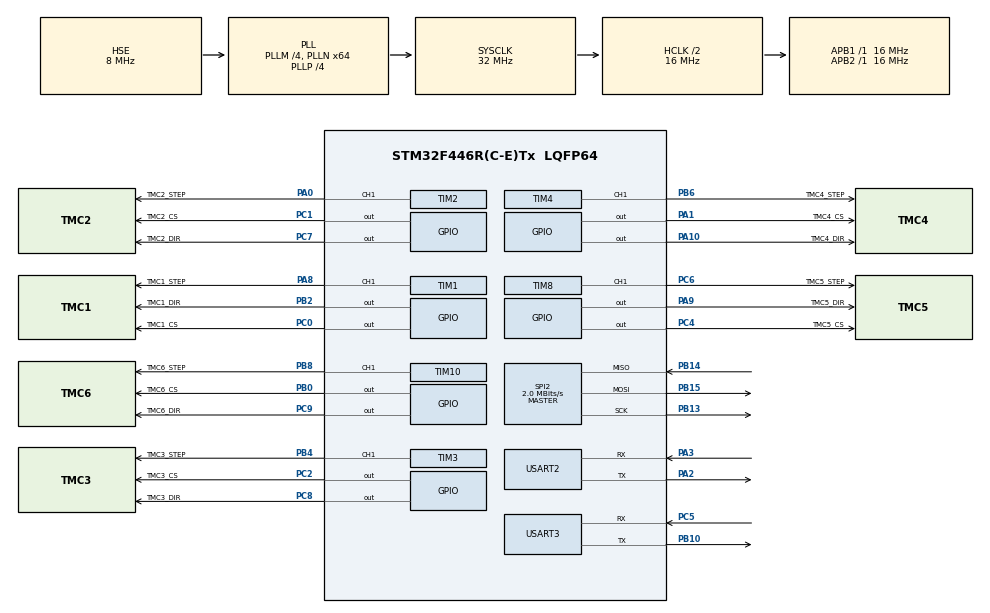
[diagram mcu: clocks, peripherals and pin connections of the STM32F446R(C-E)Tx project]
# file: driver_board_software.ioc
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Mcu.Family=STM32F4
Mcu.Name=STM32F446R(C-E)Tx
Mcu.Package=LQFP64
NVIC.PriorityGroup=NVIC_PRIORITYGROUP_4
NVIC.TIM1_UP_TIM10_IRQn=true\:0\:0\:false\:false\:true\:true\:true\:true
NVIC.TIM5_IRQn=true\:0\:0\:false\:false\:true\:true\:true\:true
NVIC.USART2_IRQn=true\:0\:0\:false\:false\:true\:true\:true\:true
NVIC.USART3_IRQn=true\:0\:0\:false\:false\:true\:true\:true\:true
PA0-WKUP.GPIO_Label=TMC2_STEP
PA0-WKUP.Signal=S_TIM2_CH1_ETR
PA1.GPIO_Label=TMC4_CS
PA1.PinState=GPIO_PIN_SET
PA1.Signal=GPIO_Output
PA10.GPIO_Label=TMC4_DIR
PA10.GPIO_Speed=GPIO_SPEED_FREQ_MEDIUM
PA10.PinState=GPIO_PIN_SET
PA10.Signal=GPIO_Output
PA2.Mode=Asynchronous
PA2.Signal=USART2_TX
PA3.Mode=Asynchronous
PA3.Signal=USART2_RX
PA8.GPIO_Label=TMC1_STEP
PA8.Signal=S_TIM1_CH1
PA9.GPIO_Label=TMC5_DIR
PA9.GPIO_Speed=GPIO_SPEED_FREQ_MEDIUM
PA9.PinState=GPIO_PIN_SET
PA9.Signal=GPIO_Output
PB0.GPIO_Label=TMC6_CS
PB0.GPIO_Speed=GPIO_SPEED_FREQ_MEDIUM
PB0.PinState=GPIO_PIN_SET
PB0.Signal=GPIO_Output
PB10.Mode=Asynchronous
PB10.Signal=USART3_TX
PB13.Mode=Full_Duplex_Master
PB13.Signal=SPI2_SCK
PB14.Mode=Full_Duplex_Master
PB14.Signal=SPI2_MISO
PB15.Mode=Full_Duplex_Master
PB15.Signal=SPI2_MOSI
PB2.GPIO_Label=TMC1_DIR
PB2.GPIO_Speed=GPIO_SPEED_FREQ_MEDIUM
PB2.PinState=GPIO_PIN_SET
PB2.Signal=GPIO_Output
PB4.GPIO_Label=TMC3_STEP
PB4.Signal=S_TIM3_CH1
PB6.GPIO_Label=TMC4_STEP
PB6.Signal=S_TIM4_CH1
PB8.GPIO_Label=TMC6_STEP
PB8.Signal=S_TIM10_CH1
PC0.GPIO_Label=TMC1_CS
PC0.PinState=GPIO_PIN_SET
PC0.Signal=GPIO_Output
PC1.GPIO_Label=TMC2_CS
PC1.GPIO_Speed=GPIO_SPEED_FREQ_LOW
PC1.PinState=GPIO_PIN_SET
PC1.Signal=GPIO_Output
PC2.GPIO_Label=TMC3_CS
PC2.PinState=GPIO_PIN_SET
PC2.Signal=GPIO_Output
PC4.GPIO_Label=TMC5_CS
PC4.GPIO_Speed=GPIO_SPEED_FREQ_MEDIUM
PC4.PinState=GPIO_PIN_SET
PC4.Signal=GPIO_Output
PC5.Mode=Asynchronous
PC5.Signal=USART3_RX
PC6.GPIO_Label=TMC5_STEP
PC6.Signal=S_TIM8_CH1
PC7.GPIO_Label=TMC2_DIR
PC7.PinState=GPIO_PIN_SET
PC7.Signal=GPIO_Output
PC8.GPIO_Label=TMC3_DIR
PC8.PinState=GPIO_PIN_SET
PC8.Signal=GPIO_Output
PC9.GPIO_Label=TMC6_DIR
PC9.PinState=GPIO_PIN_SET
PC9.Signal=GPIO_Output
PH0-OSC_IN.Mode=HSE-External-Clock-Source
PH0-OSC_IN.Signal=RCC_OSC_IN
PH1-OSC_OUT.Mode=HSE-External-Clock-Source
PH1-OSC_OUT.Signal=RCC_OSC_OUT
ProjectManager.HeapSize=0x200
ProjectManager.StackSize=0x400
ProjectManager.TargetToolchain=CMake
RCC.AHBCLKDivider=RCC_SYSCLK_DIV2
RCC.AHBFreq_Value=16000000
RCC.APB1Freq_Value=16000000
RCC.APB1TimFreq_Value=16000000
RCC.APB2Freq_Value=16000000
RCC.APB2TimFreq_Value=16000000
RCC.CortexFreq_Value=16000000
RCC.HCLKFreq_Value=16000000
RCC.HSE_VALUE=8000000
RCC.PLLM=4
RCC.PLLN=64
RCC.PLLP=RCC_PLLP_DIV4
RCC.PLLSourceVirtual=RCC_PLLSOURCE_HSE
RCC.SYSCLKFreq_VALUE=32000000
RCC.SYSCLKSource=RCC_SYSCLKSOURCE_PLLCLK
RCC.USBFreq_Value=64000000
RCC.VCOOutputFreq_Value=128000000
SH.S_TIM10_CH1.0=TIM10_CH1,PWM Generation1 CH1
SH.S_TIM1_CH1.0=TIM1_CH1,PWM Generation1 CH1
SH.S_TIM2_CH1_ETR.0=TIM2_CH1,PWM Generation1 CH1
SH.S_TIM3_CH1.0=TIM3_CH1,PWM Generation1 CH1
SH.S_TIM4_CH1.0=TIM4_CH1,PWM Generation1 CH1
SH.S_TIM8_CH1.0=TIM8_CH1,PWM Generation1 CH1
SPI2.BaudRatePrescaler=SPI_BAUDRATEPRESCALER_8
SPI2.CLKPhase=SPI_PHASE_2EDGE
SPI2.CLKPolarity=SPI_POLARITY_HIGH
SPI2.CalculateBaudRate=2.0 MBits/s
SPI2.Direction=SPI_DIRECTION_2LINES
SPI2.Mode=SPI_MODE_MASTER
SPI2.VirtualType=VM_MASTER
TIM1.AutoReloadPreload=TIM_AUTORELOAD_PRELOAD_ENABLE
TIM1.AutomaticOutput=TIM_AUTOMATICOUTPUT_ENABLE
TIM1.Channel-PWM\ Generation1\ CH1=TIM_CHANNEL_1
TIM1.OCMode_PWM-PWM\ Generation1\ CH1=TIM_OCMODE_PWM2
TIM1.Period=999
TIM1.Prescaler=15
TIM1.Pulse-PWM\ Generation1\ CH1=65535
TIM10.AutoReloadPreload=TIM_AUTORELOAD_PRELOAD_ENABLE
TIM10.Channel=TIM_CHANNEL_1
TIM10.OCMode_PWM=TIM_OCMODE_PWM2
TIM10.Period=999
TIM10.Prescaler=15
TIM10.Pulse=65535
TIM2.AutoReloadPreload=TIM_AUTORELOAD_PRELOAD_ENABLE
TIM2.Channel-PWM\ Generation1\ CH1=TIM_CHANNEL_1
TIM2.OCMode_PWM-PWM\ Generation1\ CH1=TIM_OCMODE_PWM2
TIM2.Period=999
TIM2.Prescaler=15
TIM2.Pulse-PWM\ Generation1\ CH1=65535
TIM3.AutoReloadPreload=TIM_AUTORELOAD_PRELOAD_ENABLE
TIM3.Channel-PWM\ Generation1\ CH1=TIM_CHANNEL_1
TIM3.OCMode_PWM-PWM\ Generation1\ CH1=TIM_OCMODE_PWM2
TIM3.Period=999
TIM3.Prescaler=15
TIM3.Pulse-PWM\ Generation1\ CH1=65535
TIM4.AutoReloadPreload=TIM_AUTORELOAD_PRELOAD_ENABLE
TIM4.Channel-PWM\ Generation1\ CH1=TIM_CHANNEL_1
TIM4.OCMode_PWM-PWM\ Generation1\ CH1=TIM_OCMODE_PWM2
TIM4.Period=999
TIM4.Prescaler=15
TIM4.Pulse-PWM\ Generation1\ CH1=65535
TIM5.Period=999
TIM5.Prescaler=15
TIM8.AutoReloadPreload=TIM_AUTORELOAD_PRELOAD_ENABLE
TIM8.Channel-PWM\ Generation1\ CH1=TIM_CHANNEL_1
TIM8.OCMode_PWM-PWM\ Generation1\ CH1=TIM_OCMODE_PWM2
TIM8.Period=999
TIM8.Prescaler=15
TIM8.Pulse-PWM\ Generation1\ CH1=65535
USART2.VirtualMode=VM_ASYNC
USART3.VirtualMode=VM_ASYNC
VP_TIM10_VS_ClockSourceINT.Mode=Enable_Timer
VP_TIM1_VS_ClockSourceINT.Mode=Internal
VP_TIM2_VS_ClockSourceINT.Mode=Internal
VP_TIM3_VS_ClockSourceINT.Mode=Internal
VP_TIM4_VS_ClockSourceINT.Mode=Internal
VP_TIM5_VS_ClockSourceINT.Mode=Internal
VP_TIM8_VS_ClockSourceINT.Mode=Internal
board=custom

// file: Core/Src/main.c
/* USER CODE BEGIN Header */
/**
  ******************************************************************************
  * @file           : main.c
  * @brief          : Main program body
  ******************************************************************************
  * @attention
  *
  * Copyright (c) 2026 STMicroelectronics.
  * All rights reserved.
  *
  * This software is licensed under terms that can be found in the LICENSE file
  * in the root directory of this software component.
  * If no LICENSE file comes with this software, it is provided AS-IS.
  *
  ******************************************************************************
  */
/*
 * SPDX-License-Identifier: GPL-3.0-or-later
 * Copyright (c) 2026 Emanuel Käfer, Matteo Gassler, and Alexander Dick and contributors
 * This program is free software: you can redistribute it and/or modify
 * it under the terms of the GNU General Public License as published by
 * the Free Software Foundation, either version 3 of the License, or
 * (at your option) any later version.
 * This program is distributed WITHOUT ANY EXPRESS OR IMPLIED WARRANTY.
 * See LICENSE-SOFTWARE in the project root for details.
 */

/* USER CODE END Header */
#include "main.h"

SPI_HandleTypeDef hspi2;

TIM_HandleTypeDef htim1;
TIM_HandleTypeDef htim2;
TIM_HandleTypeDef htim3;
TIM_HandleTypeDef htim4;
TIM_HandleTypeDef htim5;
TIM_HandleTypeDef htim8;
TIM_HandleTypeDef htim10;

UART_HandleTypeDef huart2;
UART_HandleTypeDef huart3;

/* USER CODE BEGIN PV */

//target steps array
float target_steps[] ={0.0f, 0.0f, 0.0f,0.0f,0.0f,0.0f};
/* USER CODE END PV */

void SystemClock_Config(void);
static void MX_GPIO_Init(void);
static void MX_USART2_UART_Init(void);
static void MX_TIM1_Init(void);
static void MX_USART3_UART_Init(void);
static void MX_TIM2_Init(void);
static void MX_TIM3_Init(void);
static void MX_TIM4_Init(void);
static void MX_TIM5_Init(void);
static void MX_TIM8_Init(void);
static void MX_TIM10_Init(void);
static void MX_SPI2_Init(void);

/* USER CODE BEGIN 0 */

// Status-Variables
//uint8_t ax = 0; // 0 = Base, 1 = Achse 1, ..., 5 = Achse 5

//volatile uint32_t debug_counter = 0;

/* USER CODE END 0 */

int main(void)
{

  /* MCU Configuration--------------------------------------------------------*/

  /* Reset of all peripherals, Initializes the Flash interface and the Systick. */
  HAL_Init();

  /* Configure the system clock */
  SystemClock_Config();

  /* Initialize all configured peripherals */
  MX_GPIO_Init();
  MX_USART2_UART_Init();
  MX_TIM1_Init();
  MX_USART3_UART_Init();
  MX_TIM2_Init();
  MX_TIM3_Init();
  MX_TIM4_Init();
  MX_TIM5_Init();
  MX_TIM8_Init();
  MX_TIM10_Init();
  MX_SPI2_Init();
  /* USER CODE BEGIN 2 */
  //reset everything to safe values(clear fifo, fifo read/write pointers, clear dir, pos, main/int flags, f_cur, cfg_ok)
  MC_Init();
  // Set interrupt priorities(UART-->TIM5-->everything else)
  HAL_NVIC_SetPriority(TIM5_IRQn, 1, 0);
  //start TIM5 in interrupt mode
  HAL_TIM_Base_Start_IT(&htim5);	//goofy ahh das ma des selber mochn muas lowk so 3tog debugen bis i do draufkemma bi
  //start the PWM signal TIMs
  HAL_TIM_PWM_Start(&htim1, TIM_CHANNEL_1);
  __HAL_TIM_MOE_ENABLE(&htim1);
  HAL_TIM_PWM_Start(&htim2, TIM_CHANNEL_1);
  HAL_TIM_PWM_Start(&htim3, TIM_CHANNEL_1);
  HAL_TIM_PWM_Start(&htim4, TIM_CHANNEL_1);
  HAL_TIM_PWM_Start(&htim8, TIM_CHANNEL_1);
  __HAL_TIM_MOE_ENABLE(&htim8);
  HAL_TIM_PWM_Start(&htim10, TIM_CHANNEL_1);
  //start uart Communication
  Proto_Start();
  /* USER CODE END 2 */

  /* Infinite loop */
  while (1)
  {

    /* USER CODE BEGIN 3 */
    //Read incomming uarts data
    Proto_Poll();
    //send uart data
    Proto_Send();
    //TMC-Treiber initialisieren (nicht blockierend, Retry alle 500 ms). Erst danach erlaubt motion.c Enable
    uint8_t drv_ok = TMC_Service();
    MC_SetDriversOk(drv_ok);
    //TMC-Treiber überwachen (erst wenn sie initialisiert sind)
    if (drv_ok) {
      monitoring_TMC();
      stallguard();
    }
  }
  /* USER CODE END 3 */
}

void SystemClock_Config(void)
{
  RCC_OscInitTypeDef RCC_OscInitStruct = {0};
  RCC_ClkInitTypeDef RCC_ClkInitStruct = {0};

  /** Configure the main internal regulator output voltage
  */
  __HAL_RCC_PWR_CLK_ENABLE();
  __HAL_PWR_VOLTAGESCALING_CONFIG(PWR_REGULATOR_VOLTAGE_SCALE3);

  /** Initializes the RCC Oscillators according to the specified parameters
  * in the RCC_OscInitTypeDef structure.
  */
  RCC_OscInitStruct.OscillatorType = RCC_OSCILLATORTYPE_HSE;
  RCC_OscInitStruct.HSEState = RCC_HSE_BYPASS;
  RCC_OscInitStruct.PLL.PLLState = RCC_PLL_ON;
  RCC_OscInitStruct.PLL.PLLSource = RCC_PLLSOURCE_HSE;
  RCC_OscInitStruct.PLL.PLLM = 4;
  RCC_OscInitStruct.PLL.PLLN = 64;
  RCC_OscInitStruct.PLL.PLLP = RCC_PLLP_DIV4;
  RCC_OscInitStruct.PLL.PLLQ = 2;
  RCC_OscInitStruct.PLL.PLLR = 2;
  if (HAL_RCC_OscConfig(&RCC_OscInitStruct) != HAL_OK)
  {
    Error_Handler();
  }

  /** Initializes the CPU, AHB and APB buses clocks
  */
  RCC_ClkInitStruct.ClockType = RCC_CLOCKTYPE_HCLK|RCC_CLOCKTYPE_SYSCLK
                              |RCC_CLOCKTYPE_PCLK1|RCC_CLOCKTYPE_PCLK2;
  RCC_ClkInitStruct.SYSCLKSource = RCC_SYSCLKSOURCE_PLLCLK;
  RCC_ClkInitStruct.AHBCLKDivider = RCC_SYSCLK_DIV2;
  RCC_ClkInitStruct.APB1CLKDivider = RCC_HCLK_DIV1;
  RCC_ClkInitStruct.APB2CLKDivider = RCC_HCLK_DIV1;

  if (HAL_RCC_ClockConfig(&RCC_ClkInitStruct, FLASH_LATENCY_0) != HAL_OK)
  {
    Error_Handler();
  }
}

static void MX_SPI2_Init(void)
{

  /* SPI2 parameter configuration*/
  hspi2.Instance = SPI2;
  hspi2.Init.Mode = SPI_MODE_MASTER;
  hspi2.Init.Direction = SPI_DIRECTION_2LINES;
  hspi2.Init.DataSize = SPI_DATASIZE_8BIT;
  hspi2.Init.CLKPolarity = SPI_POLARITY_HIGH;
  hspi2.Init.CLKPhase = SPI_PHASE_2EDGE;
  hspi2.Init.NSS = SPI_NSS_SOFT;
  hspi2.Init.BaudRatePrescaler = SPI_BAUDRATEPRESCALER_8;
  hspi2.Init.FirstBit = SPI_FIRSTBIT_MSB;
  hspi2.Init.TIMode = SPI_TIMODE_DISABLE;
  hspi2.Init.CRCCalculation = SPI_CRCCALCULATION_DISABLE;
  hspi2.Init.CRCPolynomial = 10;
  if (HAL_SPI_Init(&hspi2) != HAL_OK)
  {
    Error_Handler();
  }

}

static void MX_TIM1_Init(void)
{

  TIM_ClockConfigTypeDef sClockSourceConfig = {0};
  TIM_MasterConfigTypeDef sMasterConfig = {0};
  TIM_OC_InitTypeDef sConfigOC = {0};
  TIM_BreakDeadTimeConfigTypeDef sBreakDeadTimeConfig = {0};

  htim1.Instance = TIM1;
  htim1.Init.Prescaler = 15;
  htim1.Init.CounterMode = TIM_COUNTERMODE_UP;
  htim1.Init.Period = 999;
  htim1.Init.ClockDivision = TIM_CLOCKDIVISION_DIV1;
  htim1.Init.RepetitionCounter = 0;
  htim1.Init.AutoReloadPreload = TIM_AUTORELOAD_PRELOAD_ENABLE;
  if (HAL_TIM_Base_Init(&htim1) != HAL_OK)
  {
    Error_Handler();
  }
  sClockSourceConfig.ClockSource = TIM_CLOCKSOURCE_INTERNAL;
  if (HAL_TIM_ConfigClockSource(&htim1, &sClockSourceConfig) != HAL_OK)
  {
    Error_Handler();
  }
  if (HAL_TIM_PWM_Init(&htim1) != HAL_OK)
  {
    Error_Handler();
  }
  sMasterConfig.MasterOutputTrigger = TIM_TRGO_RESET;
  sMasterConfig.MasterSlaveMode = TIM_MASTERSLAVEMODE_DISABLE;
  if (HAL_TIMEx_MasterConfigSynchronization(&htim1, &sMasterConfig) != HAL_OK)
  {
    Error_Handler();
  }
  sConfigOC.OCMode = TIM_OCMODE_PWM2;
  sConfigOC.Pulse = 65535;
  sConfigOC.OCPolarity = TIM_OCPOLARITY_HIGH;
  sConfigOC.OCNPolarity = TIM_OCNPOLARITY_HIGH;
  sConfigOC.OCFastMode = TIM_OCFAST_DISABLE;
  sConfigOC.OCIdleState = TIM_OCIDLESTATE_RESET;
  sConfigOC.OCNIdleState = TIM_OCNIDLESTATE_RESET;
  if (HAL_TIM_PWM_ConfigChannel(&htim1, &sConfigOC, TIM_CHANNEL_1) != HAL_OK)
  {
    Error_Handler();
  }
  sBreakDeadTimeConfig.OffStateRunMode = TIM_OSSR_DISABLE;
  sBreakDeadTimeConfig.OffStateIDLEMode = TIM_OSSI_DISABLE;
  sBreakDeadTimeConfig.LockLevel = TIM_LOCKLEVEL_OFF;
  sBreakDeadTimeConfig.DeadTime = 0;
  sBreakDeadTimeConfig.BreakState = TIM_BREAK_DISABLE;
  sBreakDeadTimeConfig.BreakPolarity = TIM_BREAKPOLARITY_HIGH;
  sBreakDeadTimeConfig.AutomaticOutput = TIM_AUTOMATICOUTPUT_ENABLE;
  if (HAL_TIMEx_ConfigBreakDeadTime(&htim1, &sBreakDeadTimeConfig) != HAL_OK)
  {
    Error_Handler();
  }
  HAL_TIM_MspPostInit(&htim1);

}

static void MX_TIM2_Init(void)
{

  TIM_ClockConfigTypeDef sClockSourceConfig = {0};
  TIM_MasterConfigTypeDef sMasterConfig = {0};
  TIM_OC_InitTypeDef sConfigOC = {0};

  htim2.Instance = TIM2;
  htim2.Init.Prescaler = 15;
  htim2.Init.CounterMode = TIM_COUNTERMODE_UP;
  htim2.Init.Period = 999;
  htim2.Init.ClockDivision = TIM_CLOCKDIVISION_DIV1;
  htim2.Init.AutoReloadPreload = TIM_AUTORELOAD_PRELOAD_ENABLE;
  if (HAL_TIM_Base_Init(&htim2) != HAL_OK)
  {
    Error_Handler();
  }
  sClockSourceConfig.ClockSource = TIM_CLOCKSOURCE_INTERNAL;
  if (HAL_TIM_ConfigClockSource(&htim2, &sClockSourceConfig) != HAL_OK)
  {
    Error_Handler();
  }
  if (HAL_TIM_PWM_Init(&htim2) != HAL_OK)
  {
    Error_Handler();
  }
  sMasterConfig.MasterOutputTrigger = TIM_TRGO_RESET;
  sMasterConfig.MasterSlaveMode = TIM_MASTERSLAVEMODE_DISABLE;
  if (HAL_TIMEx_MasterConfigSynchronization(&htim2, &sMasterConfig) != HAL_OK)
  {
    Error_Handler();
  }
  sConfigOC.OCMode = TIM_OCMODE_PWM2;
  sConfigOC.Pulse = 65535;
  sConfigOC.OCPolarity = TIM_OCPOLARITY_HIGH;
  sConfigOC.OCFastMode = TIM_OCFAST_DISABLE;
  if (HAL_TIM_PWM_ConfigChannel(&htim2, &sConfigOC, TIM_CHANNEL_1) != HAL_OK)
  {
    Error_Handler();
  }
  HAL_TIM_MspPostInit(&htim2);

}

static void MX_TIM3_Init(void)
{

  TIM_ClockConfigTypeDef sClockSourceConfig = {0};
  TIM_MasterConfigTypeDef sMasterConfig = {0};
  TIM_OC_InitTypeDef sConfigOC = {0};

  htim3.Instance = TIM3;
  htim3.Init.Prescaler = 15;
  htim3.Init.CounterMode = TIM_COUNTERMODE_UP;
  htim3.Init.Period = 999;
  htim3.Init.ClockDivision = TIM_CLOCKDIVISION_DIV1;
  htim3.Init.AutoReloadPreload = TIM_AUTORELOAD_PRELOAD_ENABLE;
  if (HAL_TIM_Base_Init(&htim3) != HAL_OK)
  {
    Error_Handler();
  }
  sClockSourceConfig.ClockSource = TIM_CLOCKSOURCE_INTERNAL;
  if (HAL_TIM_ConfigClockSource(&htim3, &sClockSourceConfig) != HAL_OK)
  {
    Error_Handler();
  }
  if (HAL_TIM_PWM_Init(&htim3) != HAL_OK)
  {
    Error_Handler();
  }
  sMasterConfig.MasterOutputTrigger = TIM_TRGO_RESET;
  sMasterConfig.MasterSlaveMode = TIM_MASTERSLAVEMODE_DISABLE;
  if (HAL_TIMEx_MasterConfigSynchronization(&htim3, &sMasterConfig) != HAL_OK)
  {
    Error_Handler();
  }
  sConfigOC.OCMode = TIM_OCMODE_PWM2;
  sConfigOC.Pulse = 65535;
  sConfigOC.OCPolarity = TIM_OCPOLARITY_HIGH;
  sConfigOC.OCFastMode = TIM_OCFAST_DISABLE;
  if (HAL_TIM_PWM_ConfigChannel(&htim3, &sConfigOC, TIM_CHANNEL_1) != HAL_OK)
  {
    Error_Handler();
  }
  HAL_TIM_MspPostInit(&htim3);

}

static void MX_TIM4_Init(void)
{

  TIM_ClockConfigTypeDef sClockSourceConfig = {0};
  TIM_MasterConfigTypeDef sMasterConfig = {0};
  TIM_OC_InitTypeDef sConfigOC = {0};

  htim4.Instance = TIM4;
  htim4.Init.Prescaler = 15;
  htim4.Init.CounterMode = TIM_COUNTERMODE_UP;
  htim4.Init.Period = 999;
  htim4.Init.ClockDivision = TIM_CLOCKDIVISION_DIV1;
  htim4.Init.AutoReloadPreload = TIM_AUTORELOAD_PRELOAD_ENABLE;
  if (HAL_TIM_Base_Init(&htim4) != HAL_OK)
  {
    Error_Handler();
  }
  sClockSourceConfig.ClockSource = TIM_CLOCKSOURCE_INTERNAL;
  if (HAL_TIM_ConfigClockSource(&htim4, &sClockSourceConfig) != HAL_OK)
  {
    Error_Handler();
  }
  if (HAL_TIM_PWM_Init(&htim4) != HAL_OK)
  {
    Error_Handler();
  }
  sMasterConfig.MasterOutputTrigger = TIM_TRGO_RESET;
  sMasterConfig.MasterSlaveMode = TIM_MASTERSLAVEMODE_DISABLE;
  if (HAL_TIMEx_MasterConfigSynchronization(&htim4, &sMasterConfig) != HAL_OK)
  {
    Error_Handler();
  }
  sConfigOC.OCMode = TIM_OCMODE_PWM2;
  sConfigOC.Pulse = 65535;
  sConfigOC.OCPolarity = TIM_OCPOLARITY_HIGH;
  sConfigOC.OCFastMode = TIM_OCFAST_DISABLE;
  if (HAL_TIM_PWM_ConfigChannel(&htim4, &sConfigOC, TIM_CHANNEL_1) != HAL_OK)
  {
    Error_Handler();
  }
  HAL_TIM_MspPostInit(&htim4);

}

static void MX_TIM5_Init(void)
{

  TIM_ClockConfigTypeDef sClockSourceConfig = {0};
  TIM_MasterConfigTypeDef sMasterConfig = {0};

  htim5.Instance = TIM5;
  htim5.Init.Prescaler = 15;
  htim5.Init.CounterMode = TIM_COUNTERMODE_UP;
  htim5.Init.Period = 999;
  htim5.Init.ClockDivision = TIM_CLOCKDIVISION_DIV1;
  htim5.Init.AutoReloadPreload = TIM_AUTORELOAD_PRELOAD_DISABLE;
  if (HAL_TIM_Base_Init(&htim5) != HAL_OK)
  {
    Error_Handler();
  }
  sClockSourceConfig.ClockSource = TIM_CLOCKSOURCE_INTERNAL;
  if (HAL_TIM_ConfigClockSource(&htim5, &sClockSourceConfig) != HAL_OK)
  {
    Error_Handler();
  }
  sMasterConfig.MasterOutputTrigger = TIM_TRGO_RESET;
  sMasterConfig.MasterSlaveMode = TIM_MASTERSLAVEMODE_DISABLE;
  if (HAL_TIMEx_MasterConfigSynchronization(&htim5, &sMasterConfig) != HAL_OK)
  {
    Error_Handler();
  }

}

static void MX_TIM8_Init(void)
{

  TIM_ClockConfigTypeDef sClockSourceConfig = {0};
  TIM_MasterConfigTypeDef sMasterConfig = {0};
  TIM_OC_InitTypeDef sConfigOC = {0};
  TIM_BreakDeadTimeConfigTypeDef sBreakDeadTimeConfig = {0};

  htim8.Instance = TIM8;
  htim8.Init.Prescaler = 15;
  htim8.Init.CounterMode = TIM_COUNTERMODE_UP;
  htim8.Init.Period = 999;
  htim8.Init.ClockDivision = TIM_CLOCKDIVISION_DIV1;
  htim8.Init.RepetitionCounter = 0;
  htim8.Init.AutoReloadPreload = TIM_AUTORELOAD_PRELOAD_ENABLE;
  if (HAL_TIM_Base_Init(&htim8) != HAL_OK)
  {
    Error_Handler();
  }
  sClockSourceConfig.ClockSource = TIM_CLOCKSOURCE_INTERNAL;
  if (HAL_TIM_ConfigClockSource(&htim8, &sClockSourceConfig) != HAL_OK)
  {
    Error_Handler();
  }
  if (HAL_TIM_PWM_Init(&htim8) != HAL_OK)
  {
    Error_Handler();
  }
  sMasterConfig.MasterOutputTrigger = TIM_TRGO_RESET;
  sMasterConfig.MasterSlaveMode = TIM_MASTERSLAVEMODE_DISABLE;
  if (HAL_TIMEx_MasterConfigSynchronization(&htim8, &sMasterConfig) != HAL_OK)
  {
    Error_Handler();
  }
  sConfigOC.OCMode = TIM_OCMODE_PWM2;
  sConfigOC.Pulse = 65535;
  sConfigOC.OCPolarity = TIM_OCPOLARITY_HIGH;
  sConfigOC.OCNPolarity = TIM_OCNPOLARITY_HIGH;
  sConfigOC.OCFastMode = TIM_OCFAST_DISABLE;
  sConfigOC.OCIdleState = TIM_OCIDLESTATE_RESET;
  sConfigOC.OCNIdleState = TIM_OCNIDLESTATE_RESET;
  if (HAL_TIM_PWM_ConfigChannel(&htim8, &sConfigOC, TIM_CHANNEL_1) != HAL_OK)
  {
    Error_Handler();
  }
  sBreakDeadTimeConfig.OffStateRunMode = TIM_OSSR_DISABLE;
  sBreakDeadTimeConfig.OffStateIDLEMode = TIM_OSSI_DISABLE;
  sBreakDeadTimeConfig.LockLevel = TIM_LOCKLEVEL_OFF;
  sBreakDeadTimeConfig.DeadTime = 0;
  sBreakDeadTimeConfig.BreakState = TIM_BREAK_DISABLE;
  sBreakDeadTimeConfig.BreakPolarity = TIM_BREAKPOLARITY_HIGH;
  sBreakDeadTimeConfig.AutomaticOutput = TIM_AUTOMATICOUTPUT_DISABLE;
  if (HAL_TIMEx_ConfigBreakDeadTime(&htim8, &sBreakDeadTimeConfig) != HAL_OK)
  {
    Error_Handler();
  }
  HAL_TIM_MspPostInit(&htim8);

}

static void MX_TIM10_Init(void)
{

  TIM_OC_InitTypeDef sConfigOC = {0};

  htim10.Instance = TIM10;
  htim10.Init.Prescaler = 15;
  htim10.Init.CounterMode = TIM_COUNTERMODE_UP;
  htim10.Init.Period = 999;
  htim10.Init.ClockDivision = TIM_CLOCKDIVISION_DIV1;
  htim10.Init.AutoReloadPreload = TIM_AUTORELOAD_PRELOAD_ENABLE;
  if (HAL_TIM_Base_Init(&htim10) != HAL_OK)
  {
    Error_Handler();
  }
  if (HAL_TIM_PWM_Init(&htim10) != HAL_OK)
  {
    Error_Handler();
  }
  sConfigOC.OCMode = TIM_OCMODE_PWM2;
  sConfigOC.Pulse = 65535;
  sConfigOC.OCPolarity = TIM_OCPOLARITY_HIGH;
  sConfigOC.OCFastMode = TIM_OCFAST_DISABLE;
  if (HAL_TIM_PWM_ConfigChannel(&htim10, &sConfigOC, TIM_CHANNEL_1) != HAL_OK)
  {
    Error_Handler();
  }
  HAL_TIM_MspPostInit(&htim10);

}

static void MX_USART2_UART_Init(void)
{

  huart2.Instance = USART2;
  huart2.Init.BaudRate = 115200;
  huart2.Init.WordLength = UART_WORDLENGTH_8B;
  huart2.Init.StopBits = UART_STOPBITS_1;
  huart2.Init.Parity = UART_PARITY_NONE;
  huart2.Init.Mode = UART_MODE_TX_RX;
  huart2.Init.HwFlowCtl = UART_HWCONTROL_NONE;
  huart2.Init.OverSampling = UART_OVERSAMPLING_16;
  if (HAL_UART_Init(&huart2) != HAL_OK)
  {
    Error_Handler();
  }

}

static void MX_USART3_UART_Init(void)
{

  huart3.Instance = USART3;
  huart3.Init.BaudRate = 115200;
  huart3.Init.WordLength = UART_WORDLENGTH_8B;
  huart3.Init.StopBits = UART_STOPBITS_1;
  huart3.Init.Parity = UART_PARITY_NONE;
  huart3.Init.Mode = UART_MODE_TX_RX;
  huart3.Init.HwFlowCtl = UART_HWCONTROL_NONE;
  huart3.Init.OverSampling = UART_OVERSAMPLING_16;
  if (HAL_UART_Init(&huart3) != HAL_OK)
  {
    Error_Handler();
  }

}

static void MX_GPIO_Init(void)
{
  GPIO_InitTypeDef GPIO_InitStruct = {0};

  /* GPIO Ports Clock Enable */
  __HAL_RCC_GPIOH_CLK_ENABLE();
  __HAL_RCC_GPIOC_CLK_ENABLE();
  __HAL_RCC_GPIOA_CLK_ENABLE();
  __HAL_RCC_GPIOB_CLK_ENABLE();

  /*Configure GPIO pin Output Level */
  HAL_GPIO_WritePin(GPIOC, TMC1_CS_Pin|TMC2_CS_Pin|TMC3_CS_Pin|TMC5_CS_Pin
                          |TMC2_DIR_Pin|TMC3_DIR_Pin|TMC6_DIR_Pin, GPIO_PIN_SET);

  /*Configure GPIO pin Output Level */
  HAL_GPIO_WritePin(GPIOA, TMC4_CS_Pin|TMC5_DIR_Pin|TMC4_DIR_Pin, GPIO_PIN_SET);

  /*Configure GPIO pin Output Level */
  HAL_GPIO_WritePin(GPIOB, TMC6_CS_Pin|TMC1_DIR_Pin, GPIO_PIN_SET);

  /*Configure GPIO pins : TMC1_CS_Pin TMC2_CS_Pin TMC3_CS_Pin TMC2_DIR_Pin
                           TMC3_DIR_Pin TMC6_DIR_Pin */
  GPIO_InitStruct.Pin = TMC1_CS_Pin|TMC2_CS_Pin|TMC3_CS_Pin|TMC2_DIR_Pin
                          |TMC3_DIR_Pin|TMC6_DIR_Pin;
  GPIO_InitStruct.Mode = GPIO_MODE_OUTPUT_PP;
  GPIO_InitStruct.Pull = GPIO_NOPULL;
  GPIO_InitStruct.Speed = GPIO_SPEED_FREQ_LOW;
  HAL_GPIO_Init(GPIOC, &GPIO_InitStruct);

  /*Configure GPIO pin : TMC4_CS_Pin */
  GPIO_InitStruct.Pin = TMC4_CS_Pin;
  GPIO_InitStruct.Mode = GPIO_MODE_OUTPUT_PP;
  GPIO_InitStruct.Pull = GPIO_NOPULL;
  GPIO_InitStruct.Speed = GPIO_SPEED_FREQ_LOW;
  HAL_GPIO_Init(TMC4_CS_GPIO_Port, &GPIO_InitStruct);

  /*Configure GPIO pin : TMC5_CS_Pin */
  GPIO_InitStruct.Pin = TMC5_CS_Pin;
  GPIO_InitStruct.Mode = GPIO_MODE_OUTPUT_PP;
  GPIO_InitStruct.Pull = GPIO_NOPULL;
  GPIO_InitStruct.Speed = GPIO_SPEED_FREQ_MEDIUM;
  HAL_GPIO_Init(TMC5_CS_GPIO_Port, &GPIO_InitStruct);

  /*Configure GPIO pins : TMC6_CS_Pin TMC1_DIR_Pin */
  GPIO_InitStruct.Pin = TMC6_CS_Pin|TMC1_DIR_Pin;
  GPIO_InitStruct.Mode = GPIO_MODE_OUTPUT_PP;
  GPIO_InitStruct.Pull = GPIO_NOPULL;
  GPIO_InitStruct.Speed = GPIO_SPEED_FREQ_MEDIUM;
  HAL_GPIO_Init(GPIOB, &GPIO_InitStruct);

  /*Configure GPIO pins : TMC5_DIR_Pin TMC4_DIR_Pin */
  GPIO_InitStruct.Pin = TMC5_DIR_Pin|TMC4_DIR_Pin;
  GPIO_InitStruct.Mode = GPIO_MODE_OUTPUT_PP;
  GPIO_InitStruct.Pull = GPIO_NOPULL;
  GPIO_InitStruct.Speed = GPIO_SPEED_FREQ_MEDIUM;
  HAL_GPIO_Init(GPIOA, &GPIO_InitStruct);

  /* USER CODE BEGIN MX_GPIO_Init_2 */

  HAL_NVIC_SetPriority(EXTI15_10_IRQn, 5, 0);
  HAL_NVIC_EnableIRQ(EXTI15_10_IRQn);

  HAL_NVIC_SetPriority(EXTI2_IRQn, 5, 0);
  HAL_NVIC_EnableIRQ(EXTI2_IRQn);

  /* USER CODE END MX_GPIO_Init_2 */
}

/* USER CODE BEGIN 4 */

// Callback fot TIM interrupts
void HAL_TIM_PeriodElapsedCallback(TIM_HandleTypeDef *htim)
{
  if (htim->Instance == TIM5) {
  	MC_Tick();
  }}

// EXTI15_10 callback for homing switches
void HAL_GPIO_EXTI_Callback(uint16_t GPIO_Pin)
{
  //Placeholder
}

int _write(int file, char *ptr, int len) {
  HAL_UART_Transmit(&huart2, (uint8_t*)ptr, len, HAL_MAX_DELAY);
  return len;
}

/* USER CODE END 4 */

void Error_Handler(void)
{
  __disable_irq();
  while (1)
  {
  }
}
